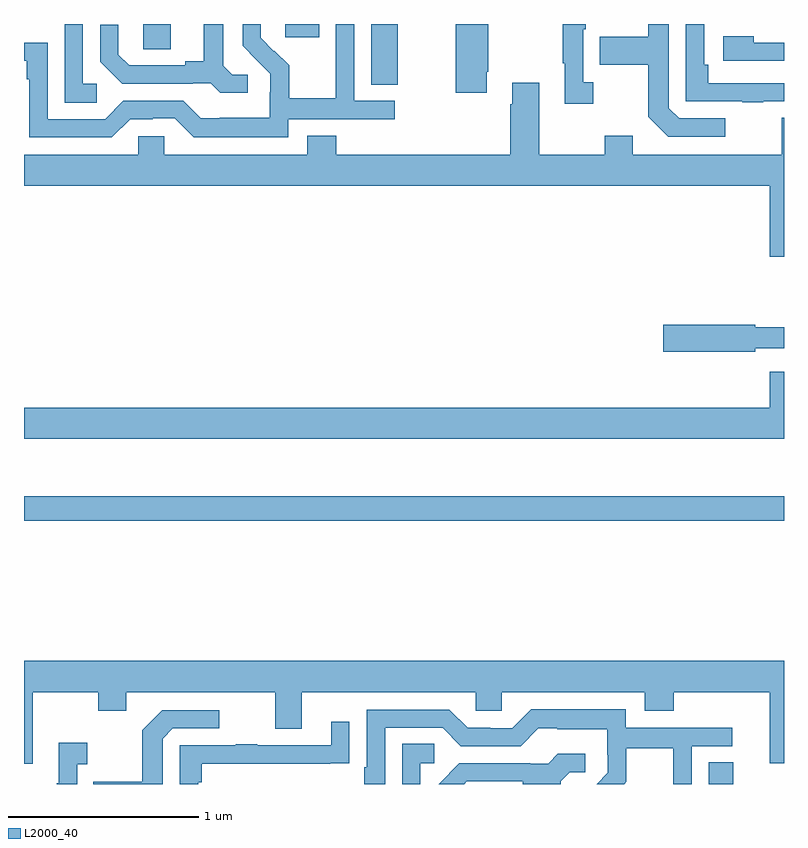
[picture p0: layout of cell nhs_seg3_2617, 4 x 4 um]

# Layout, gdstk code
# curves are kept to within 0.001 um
import gdstk
lib = gdstk.Library(unit=1e-6, precision=1e-09)
def R(c, l, rs):  # rectangles x0, y0, x1, y1
    for r in rs: c.add(gdstk.rectangle(r[:2], r[2:], *l))
def P(c, l, *ps):  # polygons
    for p in ps: c.add(gdstk.Polygon(p, *l))
L2000_40 = (2000, 40)

nhs_seg3_2617 = lib.new_cell('nhs_seg3_2617')
R(nhs_seg3_2617, L2000_40, [(248.603,732.4,248.734,732.515), (245,733.786,249,733.915), (246.827,736.081,246.966,736.4), (245.628,736.267,245.773,736.4), (246.374,736.329,246.553,736.4)])
P(nhs_seg3_2617, L2000_40, [(246.39,735.9),(246.952,735.9),(246.952,735.996),(246.738,735.996),(246.738,736.4),(246.642,736.4),(246.642,736.232),(246.64,736.232),(246.64,736.009),(246.395,736.009),(246.395,736.183),(246.318,736.26),(246.315,736.257),(246.245,736.328),(246.245,736.4),(246.15,736.4),(246.15,736.286),(246.296,736.138),(246.296,736.041),(246.294,736.041),(246.294,735.907),(246.031,735.907),(246.031,735.903),(245.931,735.903),(245.838,735.996),(245.523,735.996),(245.427,735.9),(245.124,735.9),(245.124,736.302),(245,736.302),(245,736.206),(245.015,736.206),(245.015,736.109),(245.028,736.109),(245.028,735.804),(245.463,735.804),(245.559,735.9),(245.678,735.9),(245.678,735.903),(245.793,735.903),(245.893,735.803),(246.39,735.803)],
  [(247.435,736.15),(247.443,736.15),(247.443,736.4),(247.273,736.4),(247.273,736.038),(247.435,736.038)],
  [(245.383,736.086),(245.31,736.086),(245.31,736.4),(245.214,736.4),(245.214,735.985),(245.383,735.985)],
  [(248.692,735.903),(248.448,735.903),(248.394,735.957),(248.394,736.4),(248.286,736.4),(248.286,736.333),(248.029,736.333),(248.029,736.186),(248.286,736.186),(248.286,735.913),(248.391,735.807),(248.692,735.807)],
  [(246.178,736.134),(246.096,736.134),(246.049,736.181),(246.049,736.4),(245.945,736.4),(245.945,736.205),(245.849,736.205),(245.849,736.182),(245.554,736.182),(245.497,736.239),(245.497,736.396),(245.4,736.396),(245.4,736.202),(245.516,736.086),(245.888,736.086),(245.888,736.089),(245.982,736.089),(246.034,736.037),(246.178,736.037)],
  [(248.891,735.993),(249,735.993),(249,736.089),(248.6,736.089),(248.6,736.186),(248.58,736.186),(248.58,736.4),(248.484,736.4),(248.484,735.993),(248.779,735.993),(248.779,735.988),(248.891,735.988)],
  [(247.996,736.094),(247.944,736.094),(247.944,736.373),(247.957,736.373),(247.957,736.4),(247.836,736.4),(247.836,736.193),(247.847,736.193),(247.847,735.981),(247.996,735.981)],
  [(249,736.302),(248.84,736.302),(248.84,736.336),(248.679,736.336),(248.679,736.206),(249,736.206)],
  [(249,735.907),(248.987,735.907),(248.987,735.712),(248.203,735.712),(248.203,735.811),(248.056,735.811),(248.056,735.712),(247.711,735.712),(247.711,736.09),(247.571,736.09),(247.571,735.977),(247.559,735.977),(247.559,735.712),(246.644,735.712),(246.644,735.811),(246.491,735.811),(246.491,735.712),(245.739,735.712),(245.739,735.81),(245.601,735.81),(245.601,735.712),(245,735.712),(245,735.548),(248.924,735.548),(248.924,735.174),(249,735.174)],
  [(248.848,734.694),(249,734.694),(249,734.803),(248.848,734.803),(248.848,734.816),(248.364,734.816),(248.364,734.674),(248.848,734.674)],
  [(249,734.569),(248.924,734.569),(248.924,734.38),(245,734.38),(245,734.216),(249,734.216)],
  [(245,732.507),(245.047,732.507),(245.047,732.884),(245.392,732.884),(245.392,732.785),(245.539,732.785),(245.539,732.884),(246.323,732.884),(246.323,732.69),(246.463,732.69),(246.463,732.884),(247.377,732.884),(247.377,732.786),(247.515,732.786),(247.515,732.884),(248.267,732.884),(248.267,732.785),(248.42,732.785),(248.42,732.884),(248.924,732.884),(248.924,732.51),(249,732.51),(249,733.048),(245,733.048)],
  [(246.9,732.696),(247.203,732.696),(247.299,732.6),(247.614,732.6),(247.707,732.693),(247.807,732.693),(247.807,732.689),(248.07,732.689),(248.07,732.555),(248.072,732.555),(248.072,732.458),(248.014,732.4),(248.158,732.4),(248.171,732.413),(248.171,732.588),(248.416,732.588),(248.416,732.4),(248.514,732.4),(248.514,732.6),(248.728,732.6),(248.728,732.696),(248.166,732.696),(248.166,732.793),(247.669,732.793),(247.569,732.693),(247.454,732.693),(247.454,732.696),(247.335,732.696),(247.239,732.792),(246.804,732.792),(246.804,732.487),(246.791,732.487),(246.791,732.4),(246.9,732.4)],
  [(245.73,732.639),(245.784,732.693),(246.028,732.693),(246.028,732.789),(245.727,732.789),(245.622,732.683),(245.622,732.411),(245.365,732.411),(245.365,732.4),(245.73,732.4)],
  [(245.916,732.41),(245.936,732.41),(245.936,732.507),(246.611,732.507),(246.611,732.508),(246.713,732.508),(246.713,732.727),(246.617,732.727),(246.617,732.603),(246.227,732.603),(246.227,732.608),(246.115,732.608),(246.115,732.603),(245.82,732.603),(245.82,732.4),(245.916,732.4)],
  [(245.28,732.503),(245.332,732.503),(245.332,732.616),(245.183,732.616),(245.183,732.403),(245.172,732.403),(245.172,732.4),(245.28,732.4)],
  [(247.086,732.51),(247.159,732.51),(247.159,732.611),(246.99,732.611),(246.99,732.4),(247.086,732.4)],
  [(247.33,732.414),(247.625,732.414),(247.625,732.4),(247.825,732.4),(247.825,732.415),(247.872,732.462),(247.954,732.462),(247.954,732.559),(247.81,732.559),(247.758,732.507),(247.664,732.507),(247.664,732.51),(247.292,732.51),(247.182,732.4),(247.316,732.4)])

lib.write_gds('nhs_seg3_2617.gds')
